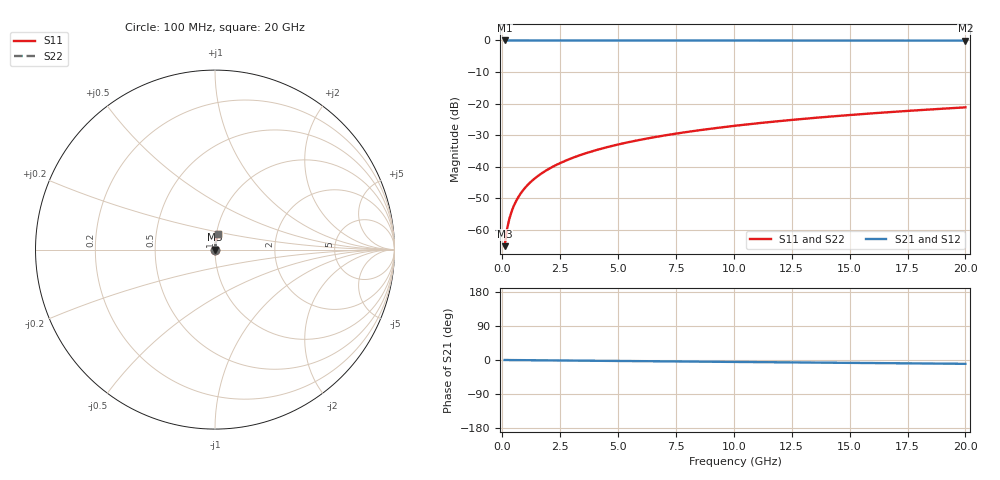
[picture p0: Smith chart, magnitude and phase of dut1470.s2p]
! Touchstone file exported from HFSS 2026.1.0
!  File:  C:/ffzhzh/LocalFiles/Ansys_Project_Files/temp_train_TSV_1470_1783198362_51560.aedt
!  Generated:  04:54:43 AM Jul  5, 2026
!  Design:  TSV
!  Project:  temp_train_TSV_1470_1783198362_51560
! Variables:
!  h_bsmrdl = 2um
!  h_ox = 20um
!  h_rdl = 5um
!  h_sub = 82.36um
!  h_tmrdl = 5um
!  h_tsv = 82.36um
!  h_via = 3um
!  l_bsmrdl = 300um
!  l_sub = 412.8um
!  l_tmrdl = 200um
!  m_sub = 200um
!  pitch = 56.7um
!  r_tsv = 6.4um
!  s_tmrdl = 10um
!  w_bsmrdl = 18um
!  w_sub = 500um
!  w_tmrdl = 12um
!  x_tsv_center1 = 206um
!  x_tsv_center2 = 524um
!  x_tsv_center3 = 736um
!  x_tsv_center4 = 1054um
!  x_tsv_center5 = 1266um
!  x_tsv_center6 = 1584um
# GHz S MA R 50.000000
! Terminal data exported
! Port[1] = TSV1_1_T1
! Port[2] = TSV1_1_T2
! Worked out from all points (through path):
!   200 points, 100 MHz to 20 GHz, reference 50 ohm
!   highest |S21| = 0.00 dB at 100 MHz (marker M1); lowest = 0.0 dB at 20 GHz (marker M2)
!   group delay of S21, straight-line fit = 1.39 ps
!   lowest |S11| = -65.2 dB at 100 MHz (marker M3), VSWR 1.00, Z = 50 + j0.0481 ohm
!   |S11| at or under -10 dB: start of sweep to end of sweep
!   |S22| runs from -65.2 to -21.2 dB; largest |S21 - S12| = 2.7e-15
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0.1  0.000548 61.3  0.9997 -0.1  0.9997 -0.1  0.000548 61.3
! Gamma 0 0 0 0
! Port Impedance 50 0 50 0
0.2  0.0009977 74.1  0.9997 -0.1  0.9997 -0.1  0.0009977 74.1
0.3  0.001464 78.6  0.9997 -0.2  0.9997 -0.2  0.001464 78.6
0.4  0.001933 80.8  0.9997 -0.2  0.9997 -0.2  0.001933 80.8
0.5  0.002399 82.0  0.9997 -0.3  0.9997 -0.3  0.002399 82.0
0.6  0.002863 82.8  0.9997 -0.3  0.9997 -0.3  0.002863 82.8
0.7  0.003323 83.4  0.9996 -0.4  0.9996 -0.4  0.003323 83.4
0.8  0.00378 83.7  0.9996 -0.4  0.9996 -0.4  0.00378 83.7
1  0.004688 84.3  0.9996 -0.5  0.9996 -0.5  0.004688 84.3
1.4  0.006484 84.9  0.9995 -0.7  0.9995 -0.7  0.006484 84.9
1.7  0.007823 85.2  0.9994 -0.9  0.9994 -0.9  0.007823 85.2
2  0.00916 85.4  0.9994 -1.0  0.9994 -1.0  0.00916 85.4
2.7  0.01227 85.6  0.9993 -1.4  0.9993 -1.4  0.01227 85.6
3.5  0.01581 85.5  0.9991 -1.8  0.9991 -1.8  0.01581 85.5
4.2  0.0189 85.4  0.999 -2.1  0.999 -2.1  0.0189 85.4
5  0.02242 85.2  0.9989 -2.5  0.9989 -2.5  0.02242 85.2
6.8  0.03029 84.6  0.9985 -3.5  0.9985 -3.5  0.03029 84.6
8.3  0.03682 84.0  0.9982 -4.2  0.9982 -4.2  0.03682 84.0
10.1  0.04462 83.3  0.9977 -5.1  0.9977 -5.1  0.04462 83.3
13.4  0.05886 81.8  0.9968 -6.8  0.9968 -6.8  0.05886 81.8
16.7  0.07298 80.3  0.9957 -8.4  0.9957 -8.4  0.07298 80.3
20  0.08696 78.8  0.9944 -10.1  0.9944 -10.1  0.08696 78.8
